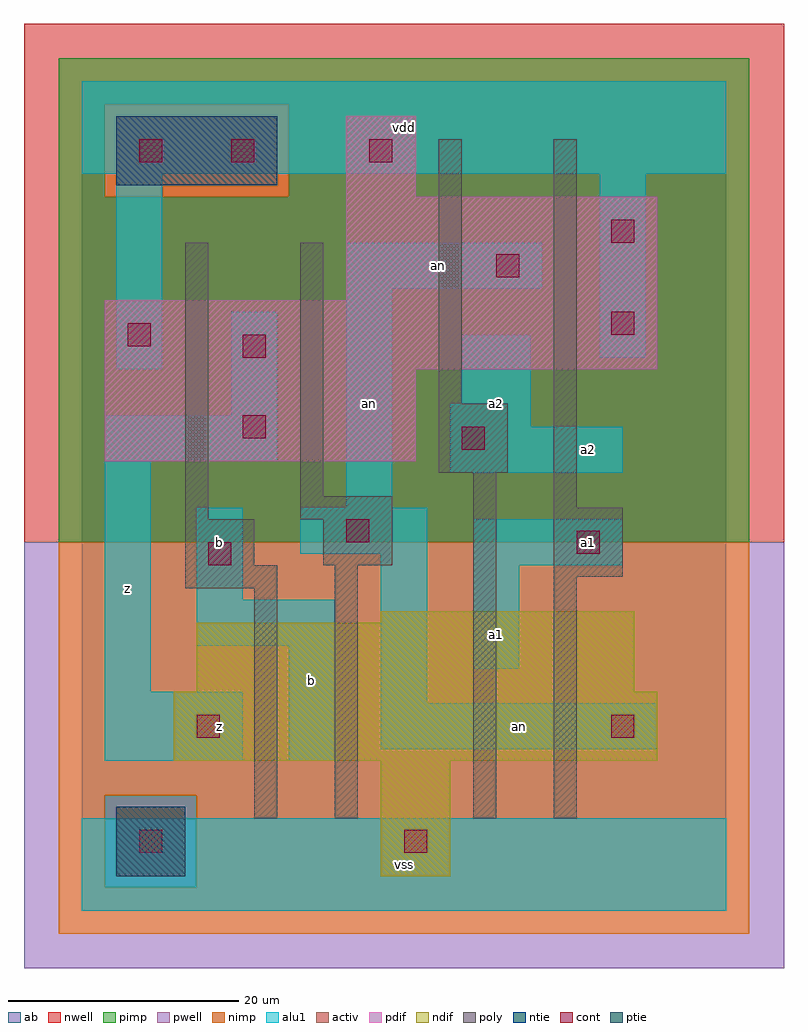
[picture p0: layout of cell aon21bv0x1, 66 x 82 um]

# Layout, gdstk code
import gdstk
lib = gdstk.Library(unit=1e-6, precision=1e-09)
def R(c, l, rs):  # rectangles x0, y0, x1, y1
    for r in rs: c.add(gdstk.rectangle(r[:2], r[2:], *l))
ndif = (3, 0)
pdif = (4, 0)
ntie = (5, 0)
ptie = (6, 0)
cont = (25, 0)
pwell = (41, 0)
nwell = (42, 0)
activ = (43, 0)
pimp = (44, 0)
nimp = (45, 0)
poly = (46, 0)
alu1 = (49, 0)
ab = (63, 0)

aon21bv0x1 = lib.new_cell('aon21bv0x1')
R(aon21bv0x1, ndif, [(26,3,32,13), (8,13,50,19), (10,19,48,25), (26,25,48,26)])
R(aon21bv0x1, pdif, [(2,39,29,47), (2,47,50,53), (23,53,50,62), (23,62,29,69)])
R(aon21bv0x1, ntie, [(3,63,17,69)])
R(aon21bv0x1, ptie, [(3,3,9,9)])
R(aon21bv0x1, cont, [(5,5,7,7), (28,5,30,7), (10,15,12,17), (46,15,48,17), (11,30,13,32), (43,31,45,33), (23,32,25,34), (33,40,35,42), (14,41,16,43), (14,48,16,50), (4,49,6,51), (46,50,48,52), (36,55,38,57), (46,58,48,60), (5,65,7,67), (13,65,15,67), (25,65,27,67)])
R(aon21bv0x1, pwell, [(-5,-5,61,32)])
R(aon21bv0x1, nwell, [(-5,32,61,77)])
R(aon21bv0x1, activ, [(3,3,9,9), (26,3,32,13), (8,13,50,19), (10,19,48,25), (26,25,48,26), (2,39,29,47), (2,47,50,53), (23,53,50,62), (23,62,29,69), (3,63,17,69)])
R(aon21bv0x1, pimp, [(2,2,10,10), (-2,32,58,62), (-2,62,2,70), (18,62,58,70), (-2,70,58,74)])
R(aon21bv0x1, nimp, [(-2,-2,58,2), (-2,2,2,10), (10,2,58,10), (-2,10,58,32), (2,62,18,70)])
R(aon21bv0x1, poly, [(15,8,17,28), (22,8,24,30), (34,8,36,38), (41,8,43,29), (9,28,17,30), (41,29,47,35), (9,30,15,34), (21,30,27,34), (9,34,11,58), (19,34,27,36), (41,35,43,67), (19,36,21,58), (31,38,37,44), (31,44,33,67)])
R(aon21bv0x1, alu1, [(0,0,56,8), (2,13,14,19), (18,13,22,23), (26,14,50,18), (26,18,30,31), (2,19,6,39), (34,21,38,30), (10,23,22,27), (10,27,14,35), (34,30,47,34), (19,31,30,35), (23,35,27,54), (32,38,47,42), (2,39,17,43), (32,42,39,44), (13,43,17,52), (33,44,39,50), (3,47,7,64), (45,48,49,64), (23,54,40,58), (0,64,56,72)])
R(aon21bv0x1, ab, [(0,0,56,72)])
aon21bv0x1.add(gdstk.Label('an', (25,44), layer=49, texttype=0))
aon21bv0x1.add(gdstk.Label('an', (38,16), layer=49, texttype=0))
aon21bv0x1.add(gdstk.Label('an', (31,56), layer=49, texttype=0))
aon21bv0x1.add(gdstk.Label('z', (4,28), layer=49, texttype=0))
aon21bv0x1.add(gdstk.Label('b', (20,20), layer=49, texttype=0))
aon21bv0x1.add(gdstk.Label('z', (12,16), layer=49, texttype=0))
aon21bv0x1.add(gdstk.Label('b', (12,32), layer=49, texttype=0))
aon21bv0x1.add(gdstk.Label('vss', (28,4), layer=49, texttype=0))
aon21bv0x1.add(gdstk.Label('a1', (36,24), layer=49, texttype=0))
aon21bv0x1.add(gdstk.Label('a2', (36,44), layer=49, texttype=0))
aon21bv0x1.add(gdstk.Label('vdd', (28,68), layer=49, texttype=0))
aon21bv0x1.add(gdstk.Label('a1', (44,32), layer=49, texttype=0))
aon21bv0x1.add(gdstk.Label('a2', (44,40), layer=49, texttype=0))

lib.write_gds('aon21bv0x1.gds')
